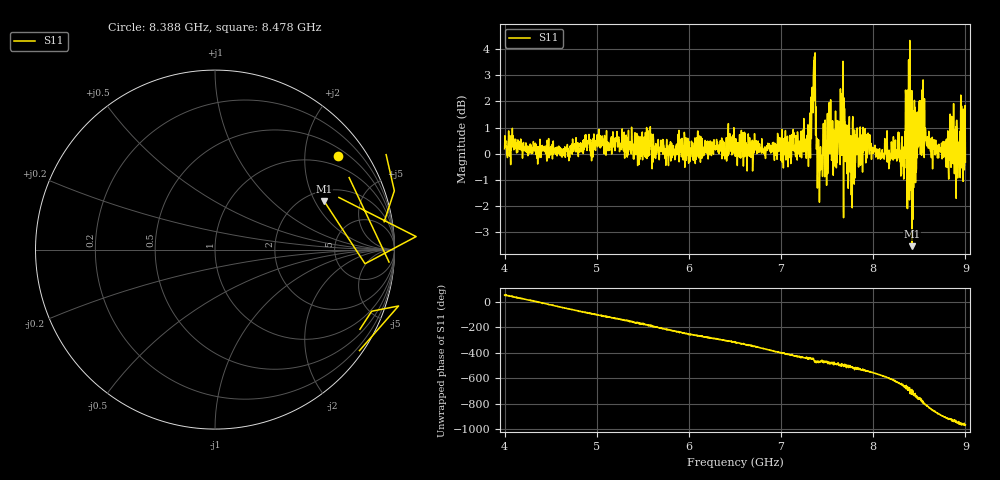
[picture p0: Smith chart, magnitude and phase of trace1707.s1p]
! Created with skrf 1.8.0 (http://scikit-rf.org).
# Hz S RI R 50.0
!freq ReS11 ImS11
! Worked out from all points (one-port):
!   1601 points, 4 GHz to 9 GHz, reference 50 ohm
!   lowest |S11| = -3.5 dB at 8.422 GHz (marker M1), VSWR 4.97, Z = 123 + j119 ohm
!   |S11| at or under -10 dB: nowhere
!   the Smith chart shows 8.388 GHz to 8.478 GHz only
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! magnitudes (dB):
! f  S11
! 4 GHz  0.2
! 4.625 GHz  -0.1
! 5.25 GHz  0.2
! 5.875 GHz  0.1
! 6.5 GHz  0.5
! 7.125 GHz  0.4
! 7.297 GHz  -0.5
! 7.347 GHz  1.6
! 7.362 GHz  3.7
! 7.4 GHz  0.1
! 7.416 GHz  -1.9
! 7.522 GHz  2.0
! 7.575 GHz  0.9
! 7.669 GHz  1.5
! 7.703 GHz  0.2
! 7.75 GHz  -0.4
! 7.931 GHz  0.2
! 8.316 GHz  -0.5
! 8.375 GHz  0.8
! 8.412 GHz  -0.2
! 8.422 GHz  -3.5
! 8.447 GHz  2.0
! 8.459 GHz  -1.1
! 8.522 GHz  1.1
! 8.619 GHz  0.2
! 8.806 GHz  -0.1
! 8.972 GHz  0.4
! 9 GHz  -0.3
